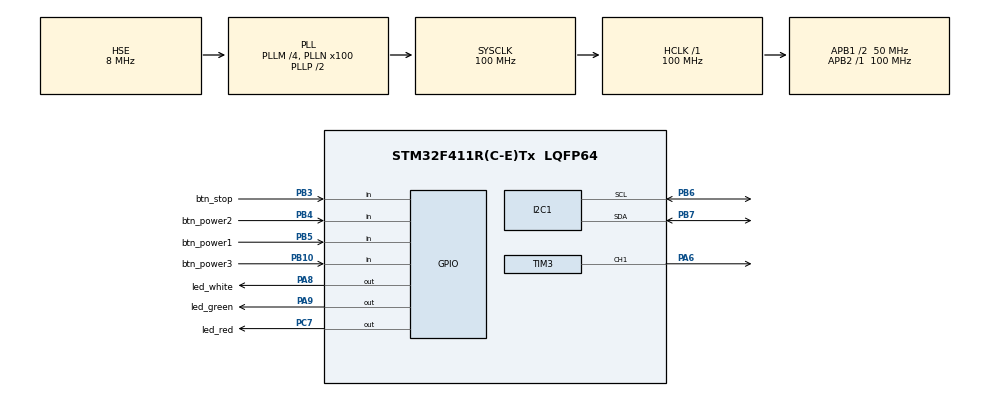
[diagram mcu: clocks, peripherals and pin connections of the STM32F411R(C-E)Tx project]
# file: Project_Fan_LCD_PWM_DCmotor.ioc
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Mcu.Family=STM32F4
Mcu.Name=STM32F411R(C-E)Tx
Mcu.Package=LQFP64
NVIC.PriorityGroup=NVIC_PRIORITYGROUP_4
PA13.Mode=Serial_Wire
PA13.Signal=SYS_JTMS-SWDIO
PA14.Mode=Serial_Wire
PA14.Signal=SYS_JTCK-SWCLK
PA6.Signal=S_TIM3_CH1
PA8.GPIO_Label=led_white
PA8.Signal=GPIO_Output
PA9.GPIO_Label=led_green
PA9.Signal=GPIO_Output
PB10.GPIO_Label=btn_power3
PB10.Signal=GPIO_Input
PB3.GPIO_Label=btn_stop
PB3.Signal=GPIO_Input
PB4.GPIO_Label=btn_power2
PB4.Signal=GPIO_Input
PB5.GPIO_Label=btn_power1
PB5.Signal=GPIO_Input
PB6.Mode=I2C
PB6.Signal=I2C1_SCL
PB7.Mode=I2C
PB7.Signal=I2C1_SDA
PC7.GPIO_Label=led_red
PC7.Signal=GPIO_Output
PH0\ -\ OSC_IN.Mode=HSE-External-Oscillator
PH0\ -\ OSC_IN.Signal=RCC_OSC_IN
PH1\ -\ OSC_OUT.Mode=HSE-External-Oscillator
PH1\ -\ OSC_OUT.Signal=RCC_OSC_OUT
ProjectManager.HeapSize=0x200
ProjectManager.StackSize=0x400
ProjectManager.TargetToolchain=STM32CubeIDE
RCC.48MHZClocksFreq_Value=50000000
RCC.AHBFreq_Value=100000000
RCC.APB1CLKDivider=RCC_HCLK_DIV2
RCC.APB1Freq_Value=50000000
RCC.APB1TimFreq_Value=100000000
RCC.APB2Freq_Value=100000000
RCC.APB2TimFreq_Value=100000000
RCC.CortexFreq_Value=100000000
RCC.HCLKFreq_Value=100000000
RCC.HSE_VALUE=8000000
RCC.HSI_VALUE=16000000
RCC.LSE_VALUE=32768
RCC.PLLM=4
RCC.PLLN=100
RCC.PLLSourceVirtual=RCC_PLLSOURCE_HSE
RCC.SYSCLKFreq_VALUE=100000000
RCC.SYSCLKSource=RCC_SYSCLKSOURCE_PLLCLK
RCC.VCOOutputFreq_Value=200000000
SH.S_TIM3_CH1.0=TIM3_CH1,PWM Generation1 CH1
TIM3.Channel-PWM\ Generation1\ CH1=TIM_CHANNEL_1
TIM3.Period=1000-1
TIM3.Prescaler=100-1
VP_TIM3_VS_ClockSourceINT.Mode=Internal
board=custom

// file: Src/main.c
/* USER CODE BEGIN Header */
/**
  ******************************************************************************
  * @file           : main.c
  * @brief          : Main program body
  ******************************************************************************
  * @attention
  *
  * Copyright (c) 2023 STMicroelectronics.
  * All rights reserved.
  *
  * This software is licensed under terms that can be found in the LICENSE file
  * in the root directory of this software component.
  * If no LICENSE file comes with this software, it is provided AS-IS.
  *
  ******************************************************************************
  */
/* USER CODE END Header */
#include "main.h"
#include "i2c.h"
#include "tim.h"
#include "gpio.h"

/* USER CODE BEGIN Includes */
#include "stdio.h"
#include "I2C_LCD.h"

/* USER CODE END Includes */

/* USER CODE BEGIN PV */
uint8_t state = 0;
/* USER CODE END PV */

void SystemClock_Config(void);

int main(void)
{

  /* MCU Configuration--------------------------------------------------------*/

  /* Reset of all peripherals, Initializes the Flash interface and the Systick. */
  HAL_Init();

  /* Configure the system clock */
  SystemClock_Config();

  /* Initialize all configured peripherals */
  MX_GPIO_Init();
  MX_I2C1_Init();
  MX_TIM3_Init();
  /* USER CODE BEGIN 2 */

  lcd_init();
  HAL_TIM_PWM_Start(&htim3, TIM_CHANNEL_1);

  /* USER CODE END 2 */

  /* Infinite loop */
  while (1)
  {

    /* USER CODE BEGIN 3 */
    if (HAL_GPIO_ReadPin(GPIOB, GPIO_PIN_5))
    {
      state = 1;
      power(state);
    }

    if (HAL_GPIO_ReadPin(GPIOB, GPIO_PIN_4))
    {
      state = 2;
      power(state);
    }

    if (HAL_GPIO_ReadPin(GPIOB, GPIO_PIN_10))
    {
      state = 3;
      power(state);
    }

    if(HAL_GPIO_ReadPin(GPIOB, GPIO_PIN_3))
    {
      state = 0;
      power(state);
    }

  }
  /* USER CODE END 3 */
}

void SystemClock_Config(void)
{
  RCC_OscInitTypeDef RCC_OscInitStruct = {0};
  RCC_ClkInitTypeDef RCC_ClkInitStruct = {0};

  /** Configure the main internal regulator output voltage
  */
  __HAL_RCC_PWR_CLK_ENABLE();
  __HAL_PWR_VOLTAGESCALING_CONFIG(PWR_REGULATOR_VOLTAGE_SCALE1);

  /** Initializes the RCC Oscillators according to the specified parameters
  * in the RCC_OscInitTypeDef structure.
  */
  RCC_OscInitStruct.OscillatorType = RCC_OSCILLATORTYPE_HSE;
  RCC_OscInitStruct.HSEState = RCC_HSE_ON;
  RCC_OscInitStruct.PLL.PLLState = RCC_PLL_ON;
  RCC_OscInitStruct.PLL.PLLSource = RCC_PLLSOURCE_HSE;
  RCC_OscInitStruct.PLL.PLLM = 4;
  RCC_OscInitStruct.PLL.PLLN = 100;
  RCC_OscInitStruct.PLL.PLLP = RCC_PLLP_DIV2;
  RCC_OscInitStruct.PLL.PLLQ = 4;
  if (HAL_RCC_OscConfig(&RCC_OscInitStruct) != HAL_OK)
  {
    Error_Handler();
  }

  /** Initializes the CPU, AHB and APB buses clocks
  */
  RCC_ClkInitStruct.ClockType = RCC_CLOCKTYPE_HCLK|RCC_CLOCKTYPE_SYSCLK
                              |RCC_CLOCKTYPE_PCLK1|RCC_CLOCKTYPE_PCLK2;
  RCC_ClkInitStruct.SYSCLKSource = RCC_SYSCLKSOURCE_PLLCLK;
  RCC_ClkInitStruct.AHBCLKDivider = RCC_SYSCLK_DIV1;
  RCC_ClkInitStruct.APB1CLKDivider = RCC_HCLK_DIV2;
  RCC_ClkInitStruct.APB2CLKDivider = RCC_HCLK_DIV1;

  if (HAL_RCC_ClockConfig(&RCC_ClkInitStruct, FLASH_LATENCY_3) != HAL_OK)
  {
    Error_Handler();
  }
}

void Error_Handler(void)
{
  __disable_irq();
  while (1)
  {
  }
}
